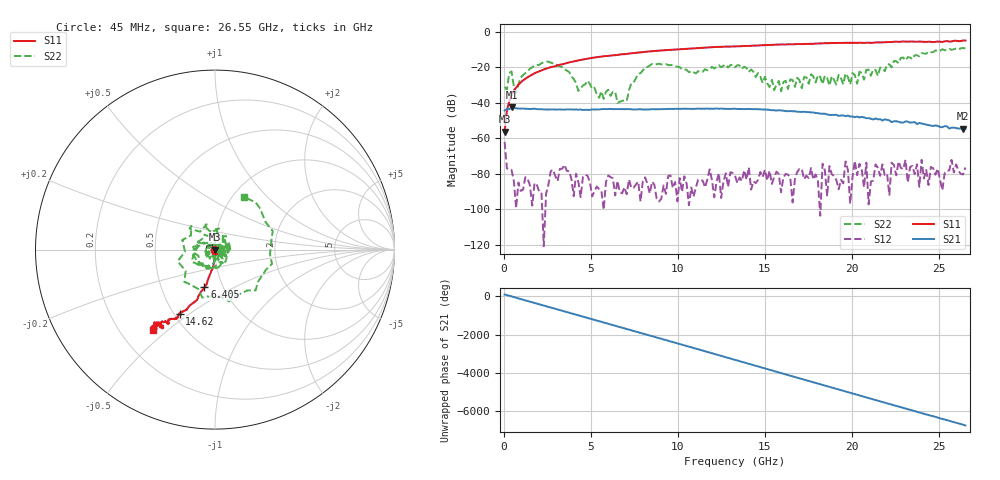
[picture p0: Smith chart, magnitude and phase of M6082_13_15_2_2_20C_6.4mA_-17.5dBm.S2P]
!  2-Port S-parameters saved by WinCal
! VAR MeasName=S-Parameters (CALIBRATED_DATA) read from VNA (C)
! VAR MeasDate=10/16/2015 12:47:12 PM
! VAR NAME=M6082_13_15_2_2_20C_6.4mA_-17.5dBm
! VAR FILENAME=M6082_13_15_2_2_20C_6.4mA_-17.5dBm.S2P
! VAR DATE=10/16/2015 12:47:12 PM
! VAR PHYS_PORTS=2,1
! VAR ObjTypeName=DATASET
! VAR IndexType=Frequency
# Hz S RI R 50
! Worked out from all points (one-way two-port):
!   201 points, 45 MHz to 26.55 GHz, reference 50 ohm
!   highest |S21| = -42.55 dB at 442.5 MHz (marker M1); lowest = -54.6 dB at 26.41 GHz (marker M2)
!   lowest |S11| = -56.2 dB at 45 MHz (marker M3), VSWR 1.00, Z = 50.1 - j0.0401 ohm
!   |S11| at or under -10 dB: start of sweep to 10.03 GHz
!   |S22| runs from -40.1 to -9.2 dB; largest |S21 - S12| = 0.0074
!   S11 on the Smith chart (normalised r, x): 45 MHz: 1.00, -0.00; 6.405 GHz: 0.82, -0.36; 14.62 GHz: 0.53, -0.46; 26.55 GHz: 0.34, -0.45
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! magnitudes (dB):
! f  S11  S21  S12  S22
! 45 MHz  -56.2  -44.3  -62.0  -31.2
! 177.5 MHz  -44.4  -43.5  -76.9  -32.7
! 442.5 MHz  -35.7  -42.6  -77.7  -22.4
! 707.5 MHz  -31.5  -43.1  -99.3  -34.5
! 2.43 GHz  -20.8  -43.8  -91.3  -16.9
! 4.55 GHz  -15.7  -44.1  -81.8  -30.3
! 6.405 GHz  -13.2  -43.5  -92.2  -33.8
! 7.067 GHz  -12.5  -43.5  -91.4  -39.0
! 7.73 GHz  -11.7  -43.7  -84.4  -23.7
! 8.922 GHz  -10.7  -43.6  -95.5  -18.0
! 13.29 GHz  -8.3  -43.4  -81.0  -20.1
! 14.62 GHz  -7.8  -43.7  -83.4  -23.3
! 15.95 GHz  -7.2  -44.3  -90.4  -33.5
! 17.8 GHz  -6.8  -45.4  -83.2  -25.2
! 20.32 GHz  -6.3  -47.8  -80.8  -29.3
! 22.17 GHz  -5.8  -49.9  -91.8  -18.4
! 23.89 GHz  -5.6  -51.4  -87.3  -13.9
! 24.03 GHz  -5.7  -51.7  -72.1  -12.1
! 24.16 GHz  -5.8  -52.0  -82.6  -12.3
! 25.75 GHz  -5.5  -54.0  -72.1  -10.2
! 26.41 GHz  -5.0  -54.6  -80.3  -9.2
! 26.55 GHz  -5.0  -54.6  -76.4  -9.5
